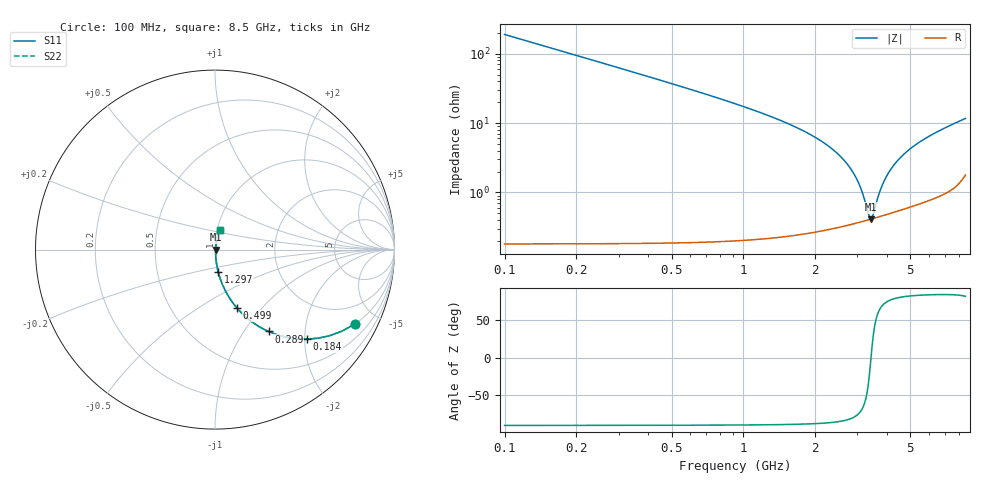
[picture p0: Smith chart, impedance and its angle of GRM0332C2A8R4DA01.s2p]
!Murata Part Number: GRM0332C2A8R4DA01
!These Parameters are Measured in Series Mode Connection
!Data Generated on Mar 30, 2021
!  o--ll--o
!Port1  Port2
!  o------o
!Operation Temp=25[degC], DC Bias Voltage=0[V]
!Freq. Start=100[MHz] Stop=9[GHz] 401[Steps]
# Hz S RI R 50
!Freq.(Hz) S11(Real) S11(Imag) S21(Real) S21(Imag) S12(Real) S12(Imag) S22(Real) S22(Imag)
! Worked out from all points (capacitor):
!   401 points, 100 MHz to 8.5 GHz, reference 50 ohm
!   read as one part in series: C = 8.4 pF near 142 MHz
!   lowest |Z| = 412 mohm at 3.418 GHz (marker M1)
!   series resonance near 3.422 GHz, so ESL is about 260 pH
!   S11 on the Smith chart (normalised r, x): 100 MHz: 1.00, -3.79; 184 MHz: 1.00, -2.05; 289 MHz: 1.00, -1.30; 499 MHz: 1.00, -0.74; 1.297 GHz: 1.00, -0.25; 8.5 GHz: 1.04, +0.23
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1e8  0.7816 -0.4127  0.2184 0.4127  0.2184 0.4127  0.7816 -0.4127
1.84e8  0.5132 -0.4989  0.4868 0.4989  0.4868 0.4989  0.5132 -0.4989
2.89e8  0.2981 -0.456  0.7019 0.456  0.7019 0.456  0.2981 -0.456
3.73e8  0.2021 -0.3997  0.7979 0.3997  0.7979 0.3997  0.2021 -0.3997
4.99e8  0.1225 -0.3254  0.8775 0.3254  0.8775 0.3254  0.1225 -0.3254
8.35e8  0.0452 -0.2032  0.9548 0.2032  0.9548 0.2032  0.0452 -0.2032
1.297e9  0.0174 -0.1224  0.9826 0.1224  0.9826 0.1224  0.0174 -0.1224
1.507e9  0.0124 -0.0996  0.9876 0.0996  0.9876 0.0996  0.0124 -0.0996
2.41e9  0.00456 -0.0391  0.9954 0.0391  0.9954 0.0391  0.00456 -0.0391
2.914e9  0.00384 -0.0176  0.9962 0.0176  0.9962 0.0176  0.00384 -0.0176
3.124e9  0.00386 -0.00993  0.9961 0.00993  0.9961 0.00993  0.00386 -0.00993
3.355e9  0.00403 -0.00215  0.996 0.00215  0.996 0.00215  0.00403 -0.00215
3.418e9  0.0041 -0.000128  0.9959 0.000128  0.9959 0.000128  0.0041 -0.000128
3.481e9  0.00417 0.00186  0.9958 -0.00186  0.9958 -0.00186  0.00417 0.00186
3.67e9  0.00445 0.00759  0.9955 -0.00759  0.9955 -0.00759  0.00445 0.00759
3.838e9  0.00476 0.0125  0.9952 -0.0125  0.9952 -0.0125  0.00476 0.0125
4.048e9  0.0052 0.0183  0.9948 -0.0183  0.9948 -0.0183  0.0052 0.0183
4.3e9  0.00581 0.0249  0.9942 -0.0249  0.9942 -0.0249  0.00581 0.0249
4.888e9  0.00751 0.0391  0.9925 -0.0391  0.9925 -0.0391  0.00751 0.0391
5.707e9  0.0104 0.0571  0.9896 -0.0571  0.9896 -0.0571  0.0104 0.0571
7.114e9  0.0171 0.085  0.9829 -0.085  0.9829 -0.085  0.0171 0.085
8.5e9  0.0299 0.1097  0.9701 -0.1097  0.9701 -0.1097  0.0299 0.1097
